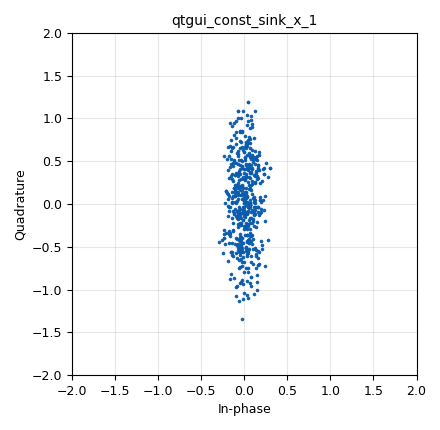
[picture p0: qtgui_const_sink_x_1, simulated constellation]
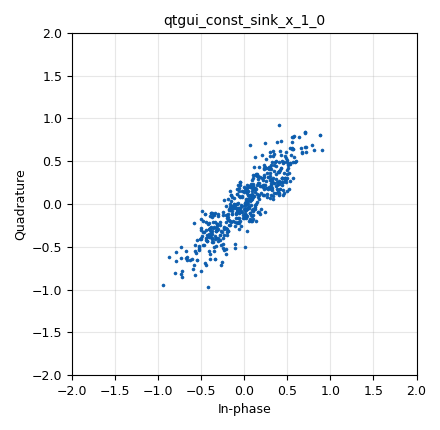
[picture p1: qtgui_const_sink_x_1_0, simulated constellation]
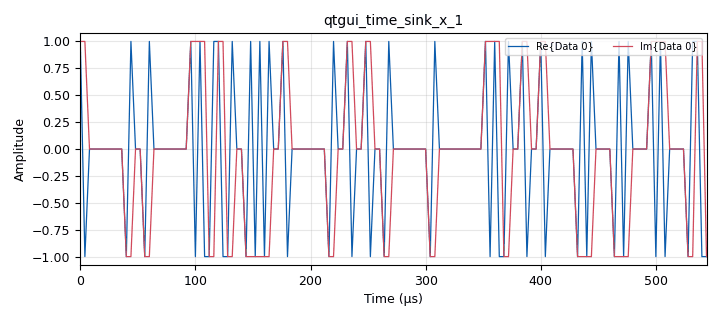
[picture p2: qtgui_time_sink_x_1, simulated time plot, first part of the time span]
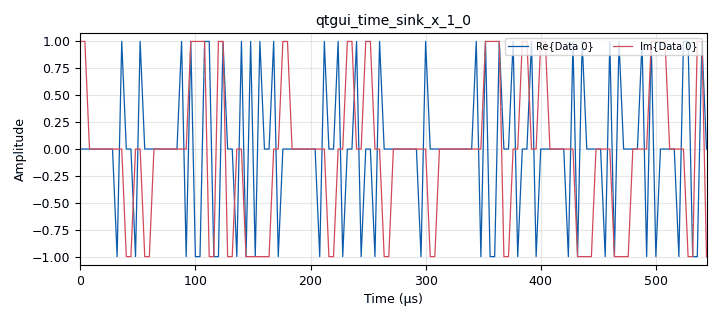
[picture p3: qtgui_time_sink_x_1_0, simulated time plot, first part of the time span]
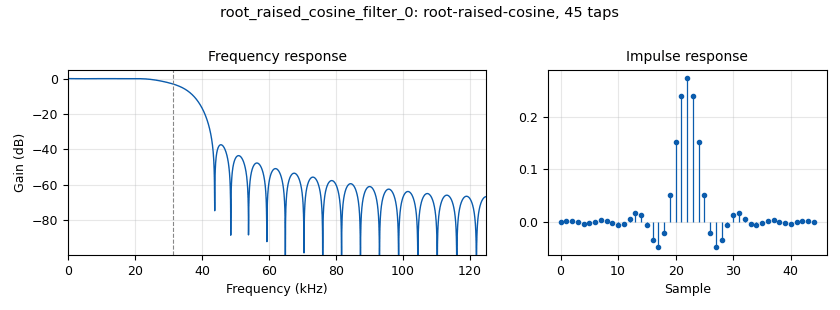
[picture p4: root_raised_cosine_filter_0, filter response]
options:
  parameters:
    author: J. Gier
    generate_options: qt_gui
    id: qpsk_trial1
    output_language: python
    title: QPSK Modulator / Demodulator
  states: {}

blocks:
- name: excess_bw
  id: variable
  parameters:
    value: '0.5'
  states: {}
- name: freq_offset
  id: variable_qtgui_range
  parameters:
    label: 'Channel: Freq Offset'
    start: '-100e-3'
    step: '10e-3'
    stop: '100e-3'
    value: '25e-3'
  states: {state: disabled}
- name: noise_volt
  id: variable_qtgui_range
  parameters:
    label: 'Channel: Noise Voltage'
    start: '0'
    step: '10e-3'
    stop: '100e-3'
    value: '0'
  states: {state: disabled}
- name: oqpsk
  id: variable_constellation_rect
  parameters:
    const_points: '[-1-1j, -1+1j, 1+1j, 1-1j]'
    imag_sect: '2'
    real_sect: '2'
    rot_sym: '4'
    sym_map: '[0, 1, 3, 2]'
    w_imag_sect: '1'
    w_real_sect: '1'
  states: {}
- name: rrc_taps
  id: variable
  parameters:
    value: firdes.root_raised_cosine(1.0,samp_rate,samp_rate/sps,excess_bw,11*sps)
  states: {}
- name: samp_rate
  id: variable
  parameters:
    value: 250e3
  states: {}
- name: span_symbols
  id: variable
  parameters:
    value: '11'
  states: {}
- name: sps
  id: variable
  parameters:
    value: '4'
  states: {}
- name: time_offset
  id: variable_qtgui_range
  parameters:
    label: 'Channel: time offset'
    start: '999e-3'
    step: '100e-6'
    stop: '1.001'
    value: '1.0005'
  states: {state: disabled}
- name: analog_random_source_x_0
  id: analog_random_source_x
  parameters:
    max: '4'
    min: '0'
    num_samps: '1000'
    repeat: 'True'
    type: byte
  states: {}
- name: blocks_complex_to_float_0
  id: blocks_complex_to_float
  parameters: {}
  states: {}
- name: blocks_complex_to_float_1
  id: blocks_complex_to_float
  parameters: {}
  states: {}
- name: blocks_delay_0
  id: blocks_delay
  parameters:
    delay: int(sps/2)
    type: float
  states: {}
- name: blocks_delay_0_0
  id: blocks_delay
  parameters:
    delay: int(sps/2)
    type: float
  states: {}
- name: blocks_float_to_complex_0
  id: blocks_float_to_complex
  parameters: {}
  states: {}
- name: blocks_float_to_complex_0_0
  id: blocks_float_to_complex
  parameters: {}
  states: {}
- name: blocks_probe_signal_x_0
  id: blocks_probe_signal_x
  parameters:
    type: byte
  states: {state: disabled}
- name: blocks_probe_signal_x_0_0
  id: blocks_probe_signal_x
  parameters:
    type: byte
  states: {}
- name: blocks_throttle2_0
  id: blocks_throttle2
  parameters:
    samples_per_second: samp_rate
    type: complex
  states: {}
- name: channels_channel_model_0
  id: channels_channel_model
  parameters:
    epsilon: time_offset
    freq_offset: freq_offset
    noise_voltage: noise_volt
    seed: '0'
    taps: '1.0'
  states: {state: disabled}
- name: digital_chunks_to_symbols_xx_0
  id: digital_chunks_to_symbols_xx
  parameters:
    dimension: '2'
    in_type: byte
    out_type: complex
    symbol_table: '[1+1j,-1+1j,-1-1j,1-1j]'
  states: {}
- name: digital_constellation_decoder_cb_0
  id: digital_constellation_decoder_cb
  parameters:
    constellation: digital.constellation_qpsk().base()
  states: {state: disabled}
- name: digital_costas_loop_cc_0
  id: digital_costas_loop_cc
  parameters:
    order: '4'
    w: '0.0628'
  states: {}
- name: digital_symbol_sync_xx_0
  id: digital_symbol_sync_xx
  parameters:
    constellation: digital.constellation_qpsk().base()
    damping: '1.0'
    loop_bw: '0.01'
    max_dev: '1.5'
    nfilters: '128'
    osps: '1'
    resamp_type: digital.IR_PFB_NO_MF
    sps: sps
    ted_gain: '1.0'
    ted_type: digital.TED_MUELLER_AND_MULLER
    type: cc
  states: {}
- name: fir_filter_xxx_0
  id: fir_filter_xxx
  parameters:
    decim: '1'
    taps: rrc_taps
    type: ccc
  states: {state: disabled}
- name: qtgui_const_sink_x_0
  id: qtgui_const_sink_x
  parameters:
    size: '1024'
    type: complex
  states: {state: disabled}
- name: qtgui_const_sink_x_1
  id: qtgui_const_sink_x
  parameters:
    size: '1024'
    type: complex
  states: {}
- name: qtgui_const_sink_x_1_0
  id: qtgui_const_sink_x
  parameters:
    size: '1024'
    type: complex
  states: {}
- name: qtgui_freq_sink_x_2
  id: qtgui_freq_sink_x
  parameters:
    autoscale: 'True'
    average: '0.05'
    bw: samp_rate
    fc: '0'
    fftsize: '1024'
    type: complex
    ymin: '-10'
  states: {state: disabled}
- name: qtgui_time_sink_x_0
  id: qtgui_time_sink_x
  parameters:
    size: '1024'
    srate: samp_rate
    type: complex
  states: {state: disabled}
- name: qtgui_time_sink_x_1
  id: qtgui_time_sink_x
  parameters:
    size: '1024'
    srate: samp_rate
    type: complex
  states: {}
- name: qtgui_time_sink_x_1_0
  id: qtgui_time_sink_x
  parameters:
    size: '1024'
    srate: samp_rate
    type: complex
  states: {}
- name: root_raised_cosine_filter_0
  id: root_raised_cosine_filter
  parameters:
    alpha: '0.35'
    gain: '1'
    interp: '1'
    ntaps: span_symbols*sps
    samp_rate: samp_rate
    sym_rate: samp_rate/sps
    type: interp_fir_filter_ccf
  states: {}

connections:
- [analog_random_source_x_0, '0', blocks_probe_signal_x_0_0, '0']
- [analog_random_source_x_0, '0', digital_chunks_to_symbols_xx_0, '0']
- [blocks_complex_to_float_0, '0', blocks_float_to_complex_0, '0']
- [blocks_complex_to_float_0, '1', blocks_delay_0, '0']
- [blocks_complex_to_float_1, '0', blocks_delay_0_0, '0']
- [blocks_complex_to_float_1, '1', blocks_float_to_complex_0_0, '1']
- [blocks_delay_0, '0', blocks_float_to_complex_0, '1']
- [blocks_delay_0_0, '0', blocks_float_to_complex_0_0, '0']
- [blocks_float_to_complex_0, '0', blocks_throttle2_0, '0']
- [blocks_float_to_complex_0_0, '0', qtgui_time_sink_x_1, '0']
- [blocks_float_to_complex_0_0, '0', root_raised_cosine_filter_0, '0']
- [blocks_throttle2_0, '0', blocks_complex_to_float_1, '0']
- [blocks_throttle2_0, '0', channels_channel_model_0, '0']
- [blocks_throttle2_0, '0', qtgui_time_sink_x_1_0, '0']
- [channels_channel_model_0, '0', blocks_complex_to_float_1, '0']
- [channels_channel_model_0, '0', fir_filter_xxx_0, '0']
- [channels_channel_model_0, '0', qtgui_const_sink_x_0, '0']
- [channels_channel_model_0, '0', qtgui_freq_sink_x_2, '0']
- [channels_channel_model_0, '0', qtgui_time_sink_x_0, '0']
- [digital_chunks_to_symbols_xx_0, '0', blocks_complex_to_float_0, '0']
- [digital_constellation_decoder_cb_0, '0', blocks_probe_signal_x_0, '0']
- [digital_costas_loop_cc_0, '0', digital_constellation_decoder_cb_0, '0']
- [digital_costas_loop_cc_0, '0', qtgui_const_sink_x_1_0, '0']
- [digital_symbol_sync_xx_0, '0', digital_costas_loop_cc_0, '0']
- [digital_symbol_sync_xx_0, '0', qtgui_const_sink_x_1, '0']
- [root_raised_cosine_filter_0, '0', digital_symbol_sync_xx_0, '0']

metadata:
  file_format: 1
  grc_version: 3.10.12.0
